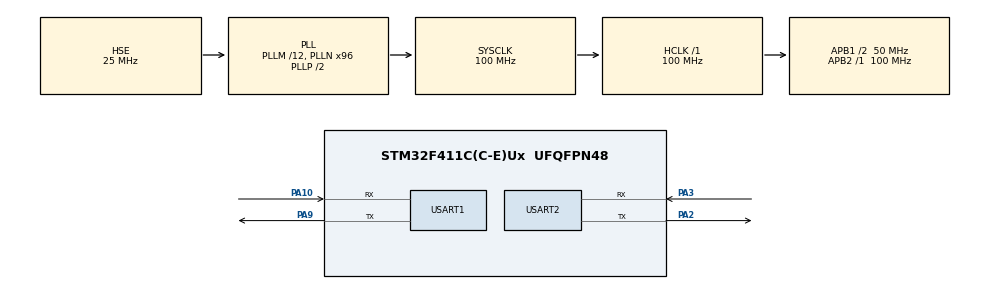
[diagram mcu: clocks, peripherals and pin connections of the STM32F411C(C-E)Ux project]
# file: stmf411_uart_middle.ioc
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Dma.Request0=USART1_RX
Dma.Request1=USART1_TX
Dma.USART1_RX.0.Direction=DMA_PERIPH_TO_MEMORY
Dma.USART1_RX.0.FIFOMode=DMA_FIFOMODE_DISABLE
Dma.USART1_RX.0.Instance=DMA2_Stream2
Dma.USART1_RX.0.MemDataAlignment=DMA_MDATAALIGN_BYTE
Dma.USART1_RX.0.MemInc=DMA_MINC_ENABLE
Dma.USART1_RX.0.Mode=DMA_CIRCULAR
Dma.USART1_RX.0.PeriphDataAlignment=DMA_PDATAALIGN_BYTE
Dma.USART1_RX.0.PeriphInc=DMA_PINC_DISABLE
Dma.USART1_RX.0.Priority=DMA_PRIORITY_LOW
Dma.USART1_TX.1.Direction=DMA_MEMORY_TO_PERIPH
Dma.USART1_TX.1.FIFOMode=DMA_FIFOMODE_DISABLE
Dma.USART1_TX.1.Instance=DMA2_Stream7
Dma.USART1_TX.1.MemDataAlignment=DMA_MDATAALIGN_BYTE
Dma.USART1_TX.1.MemInc=DMA_MINC_ENABLE
Dma.USART1_TX.1.Mode=DMA_NORMAL
Dma.USART1_TX.1.PeriphDataAlignment=DMA_PDATAALIGN_BYTE
Dma.USART1_TX.1.PeriphInc=DMA_PINC_DISABLE
Dma.USART1_TX.1.Priority=DMA_PRIORITY_LOW
FREERTOS.Tasks01=defaultTask,24,128,StartDefaultTask,Default,NULL,Dynamic,NULL,NULL
FREERTOS.configTIMER_TASK_PRIORITY=20
Mcu.Family=STM32F4
Mcu.Name=STM32F411C(C-E)Ux
Mcu.Package=UFQFPN48
NVIC.DMA2_Stream2_IRQn=true\:5\:0\:false\:false\:true\:true\:false\:true\:true
NVIC.DMA2_Stream7_IRQn=true\:5\:0\:false\:false\:true\:true\:false\:true\:true
NVIC.PriorityGroup=NVIC_PRIORITYGROUP_4
NVIC.TIM1_BRK_TIM9_IRQn=true\:15\:0\:false\:false\:true\:false\:false\:true\:true
NVIC.TimeBase=TIM1_BRK_TIM9_IRQn
NVIC.TimeBaseIP=TIM9
NVIC.USART1_IRQn=true\:5\:0\:false\:false\:true\:true\:true\:true\:true
PA10.Mode=Asynchronous
PA10.Signal=USART1_RX
PA13.Mode=Serial_Wire
PA13.Signal=SYS_JTMS-SWDIO
PA14.Mode=Serial_Wire
PA14.Signal=SYS_JTCK-SWCLK
PA2.Mode=Asynchronous
PA2.Signal=USART2_TX
PA3.Mode=Asynchronous
PA3.Signal=USART2_RX
PA9.Mode=Asynchronous
PA9.Signal=USART1_TX
PC14-OSC32_IN.Mode=LSE-External-Oscillator
PC14-OSC32_IN.Signal=RCC_OSC32_IN
PC15-OSC32_OUT.Mode=LSE-External-Oscillator
PC15-OSC32_OUT.Signal=RCC_OSC32_OUT
PH0\ -\ OSC_IN.Mode=HSE-External-Oscillator
PH0\ -\ OSC_IN.Signal=RCC_OSC_IN
PH1\ -\ OSC_OUT.Mode=HSE-External-Oscillator
PH1\ -\ OSC_OUT.Signal=RCC_OSC_OUT
ProjectManager.HeapSize=0x600
ProjectManager.StackSize=0x1000
ProjectManager.TargetToolchain=MDK-ARM V5.32
RCC.48MHZClocksFreq_Value=50000000
RCC.AHBFreq_Value=100000000
RCC.APB1CLKDivider=RCC_HCLK_DIV2
RCC.APB1Freq_Value=50000000
RCC.APB1TimFreq_Value=100000000
RCC.APB2Freq_Value=100000000
RCC.APB2TimFreq_Value=100000000
RCC.CortexFreq_Value=100000000
RCC.HCLKFreq_Value=100000000
RCC.HSE_VALUE=25000000
RCC.HSI_VALUE=16000000
RCC.PLLM=12
RCC.PLLN=96
RCC.PLLSourceVirtual=RCC_PLLSOURCE_HSE
RCC.SYSCLKFreq_VALUE=100000000
RCC.SYSCLKSource=RCC_SYSCLKSOURCE_PLLCLK
RCC.VCOOutputFreq_Value=200000000
USART1.VirtualMode=VM_ASYNC
USART2.VirtualMode=VM_ASYNC
VP_FREERTOS_VS_CMSIS_V2.Mode=CMSIS_V2
VP_SYS_VS_tim9.Mode=TIM9
board=custom

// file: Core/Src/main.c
/* USER CODE BEGIN Header */
/**
 ******************************************************************************
 * @file           : main.c
 * @brief          : Main program body
 ******************************************************************************
 * @attention
 *
 * Copyright (c) 2025 STMicroelectronics.
 * All rights reserved.
 *
 * This software is licensed under terms that can be found in the LICENSE file
 * in the root directory of this software component.
 * If no LICENSE file comes with this software, it is provided AS-IS.
 *
 ******************************************************************************
 */
/* USER CODE END Header */
#include "main.h"
#include "cmsis_os.h"
#include "dma.h"
#include "usart.h"
#include "gpio.h"
// #include "SEGGER_RTT.h"
#include "SEGGER_SYSVIEW.h"

/* USER CODE BEGIN Includes */
#include "Debug.h"
/* USER CODE END Includes */

void SystemClock_Config(void);
void MX_FREERTOS_Init(void);

int main(void)
{

    /* MCU Configuration--------------------------------------------------------*/

    /* Reset of all peripherals, Initializes the Flash interface and the Systick. */
    HAL_Init();

    /* Configure the system clock */
    SystemClock_Config();

    /* Initialize all configured peripherals */
    MX_GPIO_Init();
    MX_DMA_Init();
    MX_USART1_UART_Init();
    MX_USART2_UART_Init();
    /* USER CODE BEGIN 2 */
    Debug_Init();
    // SEGGER_SYSVIEW_Conf();
    /* USER CODE END 2 */

    /* Init scheduler */
    osKernelInitialize(); /* Call init function for freertos objects (in cmsis_os2.c) */
    MX_FREERTOS_Init();

    /* Start scheduler */
    osKernelStart();

    /* We should never get here as control is now taken by the scheduler */

    /* Infinite loop */
    while (1)
    {

    }
}

void SystemClock_Config(void)
{
    RCC_OscInitTypeDef RCC_OscInitStruct = {0};
    RCC_ClkInitTypeDef RCC_ClkInitStruct = {0};

    /** Configure the main internal regulator output voltage
     */
    __HAL_RCC_PWR_CLK_ENABLE();
    __HAL_PWR_VOLTAGESCALING_CONFIG(PWR_REGULATOR_VOLTAGE_SCALE1);

    /** Initializes the RCC Oscillators according to the specified parameters
     * in the RCC_OscInitTypeDef structure.
     */
    RCC_OscInitStruct.OscillatorType = RCC_OSCILLATORTYPE_HSE;
    RCC_OscInitStruct.HSEState = RCC_HSE_ON;
    RCC_OscInitStruct.PLL.PLLState = RCC_PLL_ON;
    RCC_OscInitStruct.PLL.PLLSource = RCC_PLLSOURCE_HSE;
    RCC_OscInitStruct.PLL.PLLM = 12;
    RCC_OscInitStruct.PLL.PLLN = 96;
    RCC_OscInitStruct.PLL.PLLP = RCC_PLLP_DIV2;
    RCC_OscInitStruct.PLL.PLLQ = 4;
    if (HAL_RCC_OscConfig(&RCC_OscInitStruct) != HAL_OK)
    {
        Error_Handler();
    }

    /** Initializes the CPU, AHB and APB buses clocks
     */
    RCC_ClkInitStruct.ClockType = RCC_CLOCKTYPE_HCLK | RCC_CLOCKTYPE_SYSCLK | RCC_CLOCKTYPE_PCLK1 | RCC_CLOCKTYPE_PCLK2;
    RCC_ClkInitStruct.SYSCLKSource = RCC_SYSCLKSOURCE_PLLCLK;
    RCC_ClkInitStruct.AHBCLKDivider = RCC_SYSCLK_DIV1;
    RCC_ClkInitStruct.APB1CLKDivider = RCC_HCLK_DIV2;
    RCC_ClkInitStruct.APB2CLKDivider = RCC_HCLK_DIV1;

    if (HAL_RCC_ClockConfig(&RCC_ClkInitStruct, FLASH_LATENCY_3) != HAL_OK)
    {
        Error_Handler();
    }
}

void HAL_TIM_PeriodElapsedCallback(TIM_HandleTypeDef *htim)
{
    if (htim->Instance == TIM9)
    {
        HAL_IncTick();
    }
}

void Error_Handler(void)
{
    __disable_irq();
    while (1)
    {
    }
}

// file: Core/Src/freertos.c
/* USER CODE BEGIN Header */
/**
 ******************************************************************************
 * File Name          : freertos.c
 * Description        : Code for freertos applications
 ******************************************************************************
 * @attention
 *
 * Copyright (c) 2025 STMicroelectronics.
 * All rights reserved.
 *
 * This software is licensed under terms that can be found in the LICENSE file
 * in the root directory of this software component.
 * If no LICENSE file comes with this software, it is provided AS-IS.
 *
 ******************************************************************************
 */
/* USER CODE END Header */

#include "FreeRTOS.h"
#include "task.h"
#include "main.h"
#include "cmsis_os.h"
#include "osal.h"

/* USER CODE BEGIN Includes */
#include "usart.h"
#include "uart_proto.h"
#include "queue.h"
#include <stdbool.h>
#include <stdio.h>

#define PRINT_BUF_SIZE  512
/* USER CODE END Includes */

/* USER CODE BEGIN PTD */
static int8_t my_parse_funcode(uint8_t *const p_data,
                               uint16_t data_len, frame_info_t *const frame_info);

static void funcode_cb(void *arg, uint8_t *const payload, uint16_t payload_len);
static void funcode_cb07(void *arg, uint8_t *const payload, uint16_t payload_len);
static void funcode_cb08(void *arg, uint8_t *const payload, uint16_t payload_len);

static void funcode_cb0a(void *arg, uint8_t *const payload, uint16_t payload_len);
static void funcode_cb0b(void *arg, uint8_t *const payload, uint16_t payload_len);
static void funcode_cb0c(void *arg, uint8_t *const payload, uint16_t payload_len);
static void funcode_cb0d(void *arg, uint8_t *const payload, uint16_t payload_len);
static void funcode_cb0e(void *arg, uint8_t *const payload, uint16_t payload_len);
static void funcode_cb0f(void *arg, uint8_t *const payload, uint16_t payload_len);
static void funcode_cb10(void *arg, uint8_t *const payload, uint16_t payload_len);
static void funcode_cb11(void *arg, uint8_t *const payload, uint16_t payload_len);
static void funcode_cb12(void *arg, uint8_t *const payload, uint16_t payload_len);
static void funcode_cb13(void *arg, uint8_t *const payload, uint16_t payload_len);
/* USER CODE END PTD */

/* USER CODE BEGIN PM */
#include "Debug.h"
#ifdef DEBUG_USER_APP
#define TASK_DEBUG_OUT(fmt, ...)      DEBUG_OUT(fmt, ##__VA_ARGS__)
#define TASK_DEBUG_ERR(fmt, ...)      DEBUG_OUT_ERR(fmt, ##__VA_ARGS__)
#else
#define TASK_DEBUG_OUT(fmt, ...)
#define TASK_DEBUG_ERR(fmt, ...)
#endif
/* USER CODE END PM */

/* USER CODE BEGIN Variables */

/* uart proto */
static parse_algo_t parse_algo =
    {.u.funcoude_algo.pf_parse_funcode = my_parse_funcode};

static frame_parse_att_t frame_parse_att =
    {
        .parse_algo = &parse_algo,
        .recv_buf_att = &g_recv_buf};

static uart_rx_os_interface_t os_interface =
    {
        .pf_os_thread_create = osal_task_create,
        .pf_os_thread_delete = osal_task_delete,
        .pf_os_queue_create = osal_queue_create,
        .pf_os_queue_put = osal_queue_send,
        .pf_os_queue_get = osal_queue_receive,
        .pf_os_enter_critical = osal_enter_critical,
        .pf_os_exit_critical = osal_exit_critical,
};

static uart_proto_input_arg_t uart_proto_input_arg =
    {
        .frame_parse_att = &frame_parse_att,
        .os_interface = &os_interface,
        .uart_ops = &g_uart_ops};

uart_proto_t g_uart_proto;
/* uart proto */

/* uart send */
static uart_tx_os_interface_t tx_os_interface =
    {
        .pf_os_thread_create = osal_task_create,
        .pf_os_thread_delete = osal_task_delete,
        .pf_os_queue_create = osal_queue_create,
        .pf_os_queue_put = osal_queue_send,
        .pf_os_queue_get = osal_queue_receive,
        .pf_os_sema_create = osal_sema_binary_create,
        .pf_os_sema_delete = osal_sema_delete,
        .pf_os_sema_acquire = osal_sema_take,
        .pf_os_sema_release = osal_sema_give,
        .pf_os_enter_critical = osal_enter_critical,
        .pf_os_exit_critical = osal_exit_critical,
        .pf_timer_create = osal_timer_create,
        .pf_timer_start = osal_timer_start,
        .pf_timer_stop = osal_timer_stop,
#if(RESOURCE_SYN_MODE_DEFAULT == RESOURCE_SYN_MODE_MUTEX)
        .pf_os_mutex_create = osal_mutex_create,
        .pf_os_mutex_delete = osal_mutex_delete,
        .pf_os_mutex_acquire = osal_mutex_take,
        .pf_os_mutex_release = osal_mutex_give
#endif
};

static uart_tx_input_arg_t uart_tx_input_arg =
    {
        .send_buf_att = &send_buf_att,
        .tx_uart_ops = &tx_uart_ops,
        .os_interface = &tx_os_interface,
};

static uint8_t printf_buf[PRINT_BUF_SIZE] = {0};

uart_tx_handler_t g_uart_tx_handler;

/* uart send */

/* USER CODE END Variables */
/* Definitions for defaultTask */
osThreadId_t defaultTaskHandle;
const osThreadAttr_t defaultTask_attributes = {
    .name = "defaultTask",
    .stack_size = 128 * 4,
    .priority = (osPriority_t)osPriorityNormal,
};

/* USER CODE BEGIN FunctionPrototypes */
const osThreadAttr_t test_task_att1 = {
    .name = "test_task_handle",
    .stack_size = 128 * 4,
    .priority = (osPriority_t)11,
};

const osThreadAttr_t test_task_att2 = {
    .name = "test_task2_handle",
    .stack_size = 128 * 4,
    .priority = (osPriority_t)13,
};

osThreadId_t test_task3_handle;
const osThreadAttr_t test_task_att3 = {
    .name = "test_task3_handle",
    .stack_size = 128 * 4,
    .priority = (osPriority_t)10,
};

static void test_task1(void *arg);
static void test_task2(void *arg);
static void test_task3(void *arg);
/* USER CODE END FunctionPrototypes */

void StartDefaultTask(void *argument);

void MX_FREERTOS_Init(void); /* (MISRA C 2004 rule 8.1) */

void MX_FREERTOS_Init(void)
{

    /* Create the thread(s) */
    /* creation of defaultTask */
    defaultTaskHandle = osThreadNew(StartDefaultTask, NULL, &defaultTask_attributes);

    /* USER CODE BEGIN RTOS_THREADS */
    /* add threads, ... */
    osThreadNew(test_task1, NULL, &test_task_att1);
    osThreadNew(test_task2, NULL, &test_task_att2);
    test_task3_handle = osThreadNew(test_task3, NULL, &test_task_att3);
    /* USER CODE END RTOS_THREADS */

}

/* USER CODE BEGIN Header_StartDefaultTask */
extern UART_HandleTypeDef huart1;
/**
 * @brief  Function implementing the defaultTask thread.
 * @param  argument: Not used
 * @retval None
 */
/* USER CODE END Header_StartDefaultTask */
void StartDefaultTask(void *argument)
{
    /* USER CODE BEGIN StartDefaultTask */
    TASK_DEBUG_OUT("default task begin\r\n");

    uart_proto_status_t ret;
    ret = uart_proto_inst(&g_uart_proto, &uart_proto_input_arg);
    if (UART_PROTO_OK != ret)
        TASK_DEBUG_OUT("uart proto inst error");
    else
    {
        subscribe_para_t subscribe_para =
            {
                .arg = NULL,
                .cb = funcode_cb07,
                .fun_code = 0x07};
        g_uart_proto.pf_subscribe(&g_uart_proto, &subscribe_para, NULL);
        subscribe_para.cb = funcode_cb08;
        subscribe_para.fun_code = 0x08;
        g_uart_proto.pf_subscribe(&g_uart_proto, &subscribe_para, NULL);

        subscribe_para.cb = funcode_cb0a;
        subscribe_para.fun_code = 0x0A;
        g_uart_proto.pf_subscribe(&g_uart_proto, &subscribe_para, NULL);
        subscribe_para.cb = funcode_cb0c;
        subscribe_para.fun_code = 0x0C;
        g_uart_proto.pf_subscribe(&g_uart_proto, &subscribe_para, NULL);
        subscribe_para.cb = funcode_cb0b;
        subscribe_para.fun_code = 0x0B;
        g_uart_proto.pf_subscribe(&g_uart_proto, &subscribe_para, NULL);
        subscribe_para.cb = funcode_cb0f;
        subscribe_para.fun_code = 0x0F;
        g_uart_proto.pf_subscribe(&g_uart_proto, &subscribe_para, NULL);
        subscribe_para.cb = funcode_cb0e;
        subscribe_para.fun_code = 0x0E;
        g_uart_proto.pf_subscribe(&g_uart_proto, &subscribe_para, NULL);
        subscribe_para.cb = funcode_cb12;
        subscribe_para.fun_code = 0x12;
        g_uart_proto.pf_subscribe(&g_uart_proto, &subscribe_para, NULL);
        subscribe_para.cb = funcode_cb13;
        subscribe_para.fun_code = 0x13;
        g_uart_proto.pf_subscribe(&g_uart_proto, &subscribe_para, NULL);
        subscribe_para.cb = funcode_cb10;
        subscribe_para.fun_code = 0x10;
        g_uart_proto.pf_subscribe(&g_uart_proto, &subscribe_para, NULL);
        subscribe_para.cb = funcode_cb11;
        subscribe_para.fun_code = 0x11;
        g_uart_proto.pf_subscribe(&g_uart_proto, &subscribe_para, NULL);
        subscribe_para.cb = funcode_cb0d;
        subscribe_para.fun_code = 0x0D;
        g_uart_proto.pf_subscribe(&g_uart_proto, &subscribe_para, NULL);
    }
    /* uart send */
    uart_tx_status_t sta = uart_tx_inst(&g_uart_tx_handler, &uart_tx_input_arg);
    if (UART_TX_OK != sta)
        TASK_DEBUG_OUT("uart send inst error");
    osThreadExit();
    /* Infinite loop */
    for (;;)
    {
        osDelay(1);
    }
    /* USER CODE END StartDefaultTask */
}

/* USER CODE BEGIN Application */
#define TEST_SEND_BUF_SIZE 128
typedef struct
{
    uint8_t *i;
    uint8_t *send_buf;
}thread_ctx_t;

static void isr_tx_cpl_cb(void *arg)
{
    uint8_t i= *(uint8_t *)arg;
    TASK_DEBUG_OUT("isr_0x%x\r\n", i);
}

static void thread_tx_cpl_cb(void *arg)
{
    thread_ctx_t *thread_ctx= (thread_ctx_t *)arg;
    uint8_t i = *thread_ctx->i;
    memset(thread_ctx->send_buf, i, TEST_SEND_BUF_SIZE);/* correct: update next send data */
    TASK_DEBUG_OUT("thread_0x%x\r\n", i);
}

static void test_task1(void *arg)
{
    uint8_t send_buf[TEST_SEND_BUF_SIZE] = {0};
    TASK_DEBUG_OUT("task1 begin\r\n");

    while (1)
    {
        static uint8_t i=0;
        thread_ctx_t thread_ctx = {.i = &i, .send_buf = send_buf};
        // memset(send_buf, i, TEST_SEND_BUF_SIZE);/* error: directly change send data */
        uart_tx_cpl_ctx_t uart_tx_cpl_ctx =
        {
            .isr_ctx = {.arg = &i, .pf_tx_cpl_cb = isr_tx_cpl_cb},
            .thread_ctx = {.arg = &thread_ctx, .pf_tx_cpl_cb = thread_tx_cpl_cb}
        };
        g_uart_tx_handler.pf_send_syn(&g_uart_tx_handler, send_buf, TEST_SEND_BUF_SIZE, &uart_tx_cpl_ctx);
        i++;
    }
}

static void test_task2(void *arg)
{
    TASK_DEBUG_OUT("task2 begin\r\n");
    const uint8_t cnt = 17;
    uint8_t pattern[] = {0xDE, 0xAD, 0xBE, 0xEF, 0xAC, 0xCA, 0x77};
    uint8_t send_buf[sizeof(pattern) * cnt] = {0};
    uint8_t send_buf2[] = {0xAB, 0xCD};
    for (int i = 0; i < cnt; i++)
    {
        memcpy(send_buf + sizeof(pattern) * i, pattern, sizeof(pattern));
    }
    osDelay(3000);
    while (1)
    {
        g_uart_tx_handler.pf_send_asy(&g_uart_tx_handler, send_buf, sizeof(send_buf));
        g_uart_tx_handler.pf_send_asy(&g_uart_tx_handler, send_buf2, sizeof(send_buf2));
        osDelay(100);
    }
}

static void test_task3(void *arg)
{
    TASK_DEBUG_OUT("task3 begin\r\n");
    while (1)
    {
        /* occupy CPU */
    }
}

void priority_inversion_test_func(void)
{
    // osThreadSetPriority(test_task3_handle, (osPriority_t)12);/* middle priority */
    // osThreadYield();
}

static void funcode_cb(void *arg, uint8_t *const payload, uint16_t payload_len)
{
    TASK_DEBUG_OUT("pay_len=%d, is:  ", payload_len);
    size_t len = 0;
    for (uint16_t i = 0; i < payload_len; i++)
    {
        len += snprintf((char*)printf_buf + len, PRINT_BUF_SIZE - len, "%02x ", payload[i]);
    }
    TASK_DEBUG_OUT("%s", printf_buf);
    TASK_DEBUG_OUT("\r\n");
}

static void funcode_cb07(void *arg, uint8_t *const payload, uint16_t payload_len)
{
    TASK_DEBUG_OUT(" 07 fun, ");
    funcode_cb(arg, payload, payload_len);
}

static void funcode_cb08(void *arg, uint8_t *const payload, uint16_t payload_len)
{
    TASK_DEBUG_OUT(" 08 fun, ");
    funcode_cb(arg, payload, payload_len);
}

static void funcode_cb0a(void *arg, uint8_t *const payload, uint16_t payload_len)
{
    static uint32_t cnt = 0;
    cnt++;
    TASK_DEBUG_OUT(" 0A fun, cntA = %d. ", cnt);
    funcode_cb(arg, payload, payload_len);
}
static void funcode_cb0b(void *arg, uint8_t *const payload, uint16_t payload_len)
{
    static uint32_t cnt = 0;
    cnt++;
    TASK_DEBUG_OUT(" 0B fun, cntB = %d. ", cnt);
    funcode_cb(arg, payload, payload_len);
}
static void funcode_cb0c(void *arg, uint8_t *const payload, uint16_t payload_len)
{
    static uint32_t cnt = 0;
    cnt++;
    TASK_DEBUG_OUT(" 0C fun, cntC = %d. ", cnt);
    funcode_cb(arg, payload, payload_len);
}
static void funcode_cb0d(void *arg, uint8_t *const payload, uint16_t payload_len)
{
    static uint32_t cnt = 0;
    cnt++;
    TASK_DEBUG_OUT(" 0D fun, cntD = %d. ", cnt);
    funcode_cb(arg, payload, payload_len);
}
static void funcode_cb0e(void *arg, uint8_t *const payload, uint16_t payload_len)
{
    static uint32_t cnt = 0;
    cnt++;
    TASK_DEBUG_OUT(" 0E fun, cntE = %d. ", cnt);
    funcode_cb(arg, payload, payload_len);
}
static void funcode_cb0f(void *arg, uint8_t *const payload, uint16_t payload_len)
{
    static uint32_t cnt = 0;
    cnt++;
    TASK_DEBUG_OUT(" 0F fun, cntF = %d. ", cnt);
    funcode_cb(arg, payload, payload_len);
}
static void funcode_cb10(void *arg, uint8_t *const payload, uint16_t payload_len)
{
    static uint32_t cnt = 0;
    cnt++;
    TASK_DEBUG_OUT(" 10 fun, cnt10 = %d. ", cnt);
    funcode_cb(arg, payload, payload_len);
}
static void funcode_cb11(void *arg, uint8_t *const payload, uint16_t payload_len)
{
    static uint32_t cnt = 0;
    cnt++;
    TASK_DEBUG_OUT(" 11 fun, cnt11 = %d. ", cnt);
    funcode_cb(arg, payload, payload_len);
}
static void funcode_cb12(void *arg, uint8_t *const payload, uint16_t payload_len)
{
    static uint32_t cnt = 0;
    cnt++;
    TASK_DEBUG_OUT(" 12 fun, cnt12 = %d. ", cnt);
    funcode_cb(arg, payload, payload_len);
}
static void funcode_cb13(void *arg, uint8_t *const payload, uint16_t payload_len)
{
    static uint32_t cnt = 0;
    cnt++;
    TASK_DEBUG_OUT(" 13 fun, cnt13 = %d. ", cnt);
    funcode_cb(arg, payload, payload_len);
}

static uint16_t modbus_crc16(const uint8_t *p_data, uint16_t len)
{
    uint16_t crc = 0xFFFF;
    uint8_t i, j;
    if (p_data == NULL || len == 0)
    {
        TASK_DEBUG_OUT("crc error");
        return crc;
    }
    for (i = 0; i < len; i++)
    {
        crc ^= p_data[i];
        for (j = 0; j < 8; j++)
        {
            if (crc & 0x0001)
            {
                crc = (crc >> 1) ^ 0xA001;
            }
            else
            {
                crc >>= 1;
            }
        }
    }
    return crc;
}

#if 1

static uint16_t find_possible_header_tail(const uint8_t *p_data,
                                          uint16_t data_len,
                                          const uint8_t *header,
                                          uint16_t header_len)
{
    /* search for possible partial header remains*/
    uint16_t possible_len = 0;
    if (0 == data_len)
        return 0;

    for (uint16_t i = 1; i < header_len; i++)
    {
        if (0 == memcmp(&p_data[data_len - i], header, i))
        {
            possible_len = i;
        }
    }
    return possible_len;
}

static algo_status_t my_parse_funcode(uint8_t *const p_data,
                                      uint16_t data_len,
                                      frame_info_t *const frame_info)
{
    if (!p_data || !frame_info)
        return ALGO_ERR_OTHERS;

    const uint8_t header[] = {0xCC, 0xAA};
    const uint16_t min_frame_len = sizeof(header) + 1 /*fun_code*/ + 2 /*len*/ + 2 /*CRC*/ + 1 /*minimum payload*/;
    const uint16_t start_2_payload_len = sizeof(header) + 1 /*fun_code*/ + 2 /*len*/;
    const uint16_t payload_2_end_len = 2 /*CRC*/;

    if (data_len < min_frame_len)
        return ALGO_ING;
    /* Search for frame header */
    uint16_t index = 0;
    while (index + sizeof(header) <= data_len)
    {
        if (0 == memcmp(&p_data[index], header, sizeof(header)))
        {
            /* Header found */
            if (data_len - index < min_frame_len)
            {
                /* Not enough data for a full frame; keep the incomplete fragment for next time */
                frame_info->payload_len = 0;
                frame_info->pre_payload_len = index; // Noise before header
                frame_info->post_payload_len = 0;
                if (index)
                    return ALGO_ERR_NOICE;
                return ALGO_ING;
            }

            uint8_t fun_code = p_data[index + sizeof(header)];
            uint16_t payload_len = p_data[index + sizeof(header) + 1] |
                                   (p_data[index + sizeof(header) + 2] << 8); // LSB

            /* Check validity of payload length */
            if (payload_len >= g_recv_buf.buffer_size / 2 || 0 == payload_len)
            {
                /* Invalid length, skip to next possible header */
                TASK_DEBUG_ERR("data length illegal! len=0x%x\r\n", payload_len);
                uint16_t new_index = index + sizeof(header);
                bool found = false;
                while (new_index + sizeof(header) <= data_len)
                {
                    if (0 == memcmp(&p_data[new_index], header, sizeof(header)))
                    {
                        found = true;
                        break;
                    }
                    new_index++;
                }
                /* If a complete frame header is not found, then detect the possible partial frame header at the end. */
                if (found)
                {
                    frame_info->pre_payload_len = new_index;
                }
                else
                {
                    uint16_t possible_header_len = find_possible_header_tail(p_data, data_len, header, sizeof(header));
                    frame_info->pre_payload_len = data_len - possible_header_len;
                }
                frame_info->payload_len = 0;
                frame_info->post_payload_len = 0;
                return ALGO_ERR_LENGTH_INVALID;
            }

            /* Check if there is enough data for CRC */
            uint16_t total_frame_len = start_2_payload_len + payload_len + payload_2_end_len;
            if (data_len - index < total_frame_len)
            {
                /* Data incomplete; wait for the rest of the frame */
                return ALGO_ING;
            }

            /* CRC verification */
            uint16_t crc_recv = *(uint16_t *)&p_data[index + start_2_payload_len + payload_len]; // LSB
            uint16_t crc_calc = modbus_crc16(&p_data[index], start_2_payload_len + payload_len);

            /* Successfully parsed */
            if (crc_recv == crc_calc)
            {
                frame_info->fun_code = fun_code;
                frame_info->payload_len = payload_len;
                frame_info->pre_payload_len = index + start_2_payload_len;
                frame_info->post_payload_len = payload_2_end_len;
                return ALGO_OK;
            }

            /* CRC error, try to find next header */
            TASK_DEBUG_ERR("crc error, len=0x%x\r\n", payload_len);
            uint16_t search_start = index + 1; // Move forward one byte to avoid infinite loop
            uint16_t new_index = search_start;
            bool found = false;
            while (new_index + sizeof(header) <= data_len)
            {
                if (0 == memcmp(&p_data[new_index], header, sizeof(header)))
                {
                    found = true;
                    break;
                }
                new_index++;
            }
            if (found)
            {
                frame_info->pre_payload_len = new_index;
            }
            else
            {
                uint16_t possible_header_len = find_possible_header_tail(p_data, data_len, header, sizeof(header));
                frame_info->pre_payload_len = data_len - possible_header_len;
            }
            frame_info->payload_len = 0;
            frame_info->post_payload_len = 0;
            return ALGO_ERR_CRC;
        }
        index++;
    }

    /* No full header found, possible partial header remains */
    uint16_t possible_header_len = find_possible_header_tail(p_data, data_len, header, sizeof(header));
    frame_info->payload_len = 0;
    frame_info->pre_payload_len = data_len - possible_header_len;
    frame_info->post_payload_len = 0;

    if (frame_info->pre_payload_len)
        return ALGO_ERR_NOICE;

    return ALGO_ING;
}
#endif

/* USER CODE END Application */
